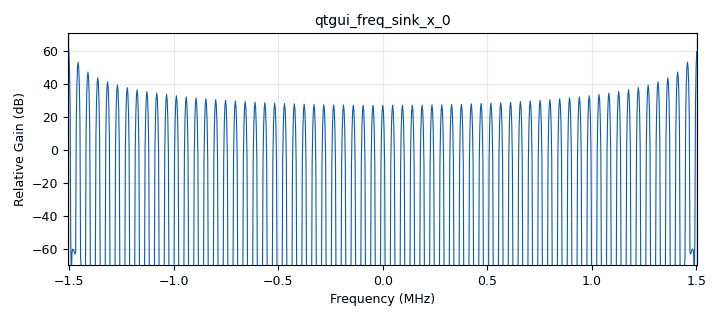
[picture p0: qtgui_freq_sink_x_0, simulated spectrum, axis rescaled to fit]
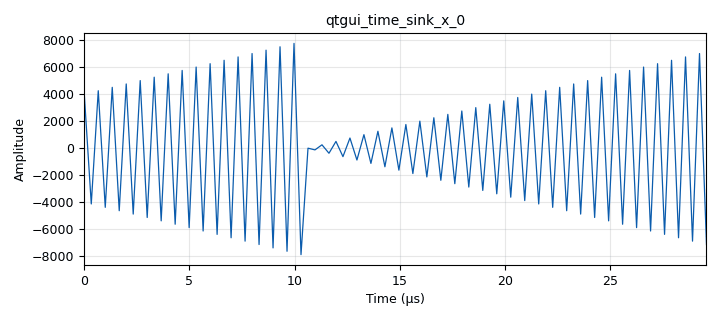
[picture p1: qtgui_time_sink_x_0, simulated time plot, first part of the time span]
options:
  parameters:
    author: Peña_Hernandez
    copyright: Peña_Hernandez
    generate_options: qt_gui
    id: Part2
    output_language: python
    title: Part2
  states: {}

blocks:
- name: samp_rate
  id: variable
  parameters:
    value: 1504000*2
  states: {}
- name: CalculoPotenciaComunicaciones_0
  id: CalculoPotenciaComunicaciones
  parameters:
    I_vect: '1024'
  states: {}
- name: analog_sig_source_x_0
  id: analog_sig_source_x
  parameters:
    amp: '80'
    freq: '47000'
    offset: '0'
    phase: '0'
    samp_rate: samp_rate
    type: float
    waveform: analog.GR_SAW_WAVE
  states: {}
- name: analog_sig_source_x_0_0
  id: analog_sig_source_x
  parameters:
    amp: '100'
    freq: '1504000'
    offset: '0'
    phase: '0'
    samp_rate: samp_rate
    type: float
    waveform: analog.GR_COS_WAVE
  states: {}
- name: blocks_multiply_xx_0
  id: blocks_multiply_xx
  parameters:
    type: float
  states: {}
- name: blocks_throttle_0
  id: blocks_throttle
  parameters:
    samples_per_second: samp_rate
    type: float
  states: {}
- name: qtgui_freq_sink_x_0
  id: qtgui_freq_sink_x
  parameters:
    bw: samp_rate
    fc: '0'
    fftsize: '1024'
    type: float
    wintype: firdes.WIN_BLACKMAN_hARRIS
  states: {}
- name: qtgui_time_sink_x_0
  id: qtgui_time_sink_x
  parameters:
    autoscale: 'True'
    grid: 'True'
    size: '1024'
    srate: samp_rate
    type: float
  states: {}

connections:
- [analog_sig_source_x_0, '0', blocks_multiply_xx_0, '0']
- [analog_sig_source_x_0_0, '0', blocks_multiply_xx_0, '1']
- [blocks_multiply_xx_0, '0', blocks_throttle_0, '0']
- [blocks_throttle_0, '0', CalculoPotenciaComunicaciones_0, '0']
- [blocks_throttle_0, '0', qtgui_freq_sink_x_0, '0']
- [blocks_throttle_0, '0', qtgui_time_sink_x_0, '0']

metadata:
  file_format: 1
